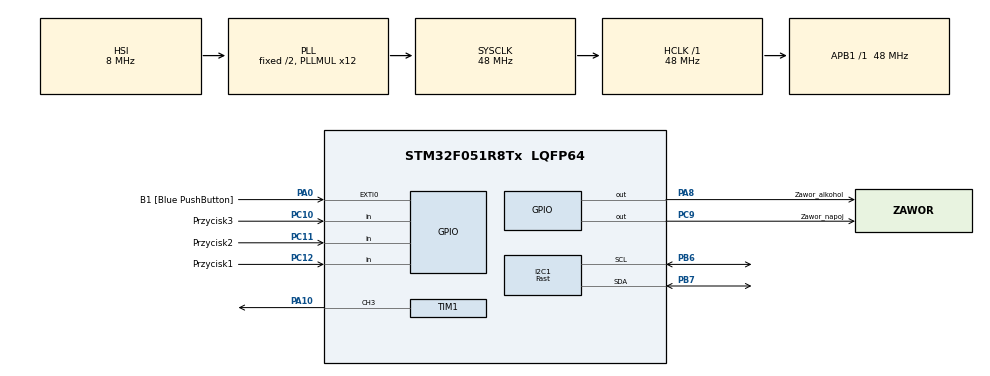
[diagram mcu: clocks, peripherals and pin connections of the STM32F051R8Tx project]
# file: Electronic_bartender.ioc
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I2C1.I2C_Speed_Mode=I2C_Fast
I2C1.Timing=0x0000020B
Mcu.Family=STM32F0
Mcu.Name=STM32F051R8Tx
Mcu.Package=LQFP64
NVIC.RCC_IRQn=true\:0\:0\:false\:false\:true\:true\:false\:true
NVIC.TIM1_BRK_UP_TRG_COM_IRQn=true\:0\:0\:false\:false\:true\:true\:true\:true
NVIC.TIM1_CC_IRQn=true\:0\:0\:false\:false\:true\:true\:true\:true
PA0.GPIO_Label=B1 [Blue PushButton]
PA0.GPIO_ModeDefaultEXTI=GPIO_MODE_EVT_RISING
PA0.Signal=GPXTI0
PA10.Signal=S_TIM1_CH3
PA13.GPIO_Label=SWDIO
PA13.Mode=Serial_Wire
PA13.Signal=SYS_SWDIO
PA14.GPIO_Label=SWCLK
PA14.Mode=Serial_Wire
PA14.Signal=SYS_SWCLK
PA8.GPIO_Label=Zawor_alkohol
PA8.Signal=GPIO_Output
PB6.Mode=I2C
PB6.Signal=I2C1_SCL
PB7.Mode=I2C
PB7.Signal=I2C1_SDA
PC10.GPIO_Label=Przycisk3
PC10.GPIO_PuPd=GPIO_PULLUP
PC10.Signal=GPIO_Input
PC11.GPIO_Label=Przycisk2
PC11.GPIO_PuPd=GPIO_PULLUP
PC11.Signal=GPIO_Input
PC12.GPIO_Label=Przycisk1
PC12.GPIO_PuPd=GPIO_PULLUP
PC12.Signal=GPIO_Input
PC14-OSC32_IN.Mode=LSE-External-Oscillator
PC14-OSC32_IN.Signal=RCC_OSC32_IN
PC15-OSC32_OUT.Mode=LSE-External-Oscillator
PC15-OSC32_OUT.Signal=RCC_OSC32_OUT
PC9.GPIO_Label=Zawor_napoj
PC9.Signal=GPIO_Output
PF0-OSC_IN.Mode=HSE-External-Oscillator
PF0-OSC_IN.Signal=RCC_OSC_IN
PF1-OSC_OUT.Mode=HSE-External-Oscillator
PF1-OSC_OUT.Signal=RCC_OSC_OUT
ProjectManager.HeapSize=0x200
ProjectManager.StackSize=0x400
ProjectManager.TargetToolchain=STM32CubeIDE
RCC.AHBFreq_Value=48000000
RCC.APB1Freq_Value=48000000
RCC.APB1TimFreq_Value=48000000
RCC.HCLKFreq_Value=48000000
RCC.PLLMUL=RCC_PLL_MUL12
RCC.SYSCLKFreq_VALUE=48000000
RCC.SYSCLKSource=RCC_SYSCLKSOURCE_PLLCLK
SH.S_TIM1_CH3.0=TIM1_CH3,PWM Generation3 CH3
TIM1.AutoReloadPreload=TIM_AUTORELOAD_PRELOAD_ENABLE
TIM1.Channel-PWM\ Generation3\ CH3=TIM_CHANNEL_3
TIM1.Period=19999
TIM1.Prescaler=47
VP_TIM1_VS_ClockSourceINT.Mode=Internal
board=STM32F0DISCOVERY

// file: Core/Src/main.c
/* USER CODE BEGIN Header */
/**
  ******************************************************************************
  * @file           : main.c
  * @brief          : Main program body
  ******************************************************************************
  * @attention
  *
  * Copyright (c) 2023 STMicroelectronics.
  * All rights reserved.
  *
  * This software is licensed under terms that can be found in the LICENSE file
  * in the root directory of this software component.
  * If no LICENSE file comes with this software, it is provided AS-IS.
  *
  ******************************************************************************
  */
/* USER CODE END Header */
#include "main.h"
#include "i2c.h"
#include "tim.h"
#include "gpio.h"

/* USER CODE BEGIN Includes */
#include "lcd_i2c.h"
#include <stdbool.h>
#include <stdio.h>
/* USER CODE END Includes */

/* USER CODE BEGIN PV */
struct lcd_disp disp;
/* USER CODE END PV */

void SystemClock_Config(void);

int main(void)
{

  /* MCU Configuration--------------------------------------------------------*/

  /* Reset of all peripherals, Initializes the Flash interface and the Systick. */
  HAL_Init();

  /* Configure the system clock */
  SystemClock_Config();

  /* Initialize all configured peripherals */
  MX_GPIO_Init();
  MX_I2C1_Init();
  MX_TIM1_Init();
  /* USER CODE BEGIN 2 */
  disp.addr = (0x27 << 1);
  disp.bl = true; //Podświelenie załączone
  lcd_init(&disp);
  lcd_prog(&disp);
  lcd_display(&disp);

  int ekran = 0;
  int liczba_szklanek = 1;
  int alkohol = 1;
  int napoj = 1;
  int zmiana = 1;
  int procedura = 1;
  int pozycja = 500;
  int zmiana_pozycji = 400;
  int czas_otwarcia = 1900;

  HAL_TIM_PWM_Start(&htim1, TIM_CHANNEL_3);

  /* USER CODE END 2 */

  /* Infinite loop */
  /* USER CODE BEGIN WHILE */
  while (1)
  {
	  HAL_GPIO_WritePin(Zawor_alkohol_GPIO_Port, Zawor_alkohol_Pin, GPIO_PIN_SET);
	  HAL_GPIO_WritePin(Zawor_napoj_GPIO_Port, Zawor_napoj_Pin, GPIO_PIN_SET);

	  if(HAL_GPIO_ReadPin(Przycisk1_GPIO_Port, Przycisk1_Pin) == GPIO_PIN_RESET){
	  		HAL_Delay(200);
	  		ekran = ekran+zmiana;
	  	  }

	  switch(ekran){
	  case 0:
		  sprintf((char *)disp.f_line, "Liczba szklanek:");
		  lcd_display(&disp);
		  if(HAL_GPIO_ReadPin(Przycisk2_GPIO_Port, Przycisk2_Pin) == GPIO_PIN_RESET){
		  	  		HAL_Delay(200);
		  	  		liczba_szklanek = liczba_szklanek+zmiana;
		  	  		if(liczba_szklanek >= 5){
		  	  		liczba_szklanek = 5;
		  	  		}
		  	  	  }
		  if(HAL_GPIO_ReadPin(Przycisk3_GPIO_Port, Przycisk3_Pin) == GPIO_PIN_RESET){
		  		  	  		HAL_Delay(200);
		  		  	  		liczba_szklanek = liczba_szklanek - zmiana;
		  		  	  		if(liczba_szklanek <= 1){
		  		  	  		liczba_szklanek = 1;
		  		  	  		}
		  		  	  	  }
		  sprintf((char *)disp.s_line, "%d", liczba_szklanek);
		  	  		  lcd_display(&disp);
		  break;

	  case 1:
	  		  sprintf((char *)disp.f_line, "Ilo%c%c alkoholu: ", '\x6', '\x1');
	  		  lcd_display(&disp);
	  		  if(HAL_GPIO_ReadPin(Przycisk2_GPIO_Port, Przycisk2_Pin) == GPIO_PIN_RESET){
	  		  	  		HAL_Delay(200);
	  		  	  	alkohol = alkohol+zmiana;
	  		  	  		if(alkohol >= 10){
	  		  	  		alkohol = 10;
	  		  	  		}
	  		  	  	  }
	  		  if(HAL_GPIO_ReadPin(Przycisk3_GPIO_Port, Przycisk3_Pin) == GPIO_PIN_RESET){
	  		  		  	  		HAL_Delay(200);
	  		  		  	  alkohol = alkohol - zmiana;
	  		  		  	  		if(alkohol <= 1){
	  		  		  	  	alkohol = 1;
	  		  		  	  		}
	  		  		  	  	  }
	  		  sprintf((char *)disp.s_line, "%d ml ", alkohol*10);
	  		  	  		  lcd_display(&disp);
	  		  break;

	  case 2:
	  	  		  sprintf((char *)disp.f_line, "Ilo%c%c napoju:   ", '\x6', '\x1');
	  	  		  lcd_display(&disp);
	  	  		  if(HAL_GPIO_ReadPin(Przycisk2_GPIO_Port, Przycisk2_Pin) == GPIO_PIN_RESET){
	  	  		  	  		HAL_Delay(200);
	  	  		  	  napoj = napoj + zmiana;
	  	  		  	  		if(napoj >= 10){
	  	  		  	  		napoj = 10;
	  	  		  	  		}
	  	  		  	  	  }
	  	  		  if(HAL_GPIO_ReadPin(Przycisk3_GPIO_Port, Przycisk3_Pin) == GPIO_PIN_RESET){
	  	  		  		  	  		HAL_Delay(200);
	  	  		  		  	  napoj = napoj - zmiana;
	  	  		  		  	  		if(napoj <= 1){
	  	  		  		  	  	napoj = 1;
	  	  		  		  	  		}
	  	  		  		  	  	  }
	  	  		  sprintf((char *)disp.s_line, "%d ml ", napoj*10);
	  	  		  	  		  lcd_display(&disp);
	  	  		  break;

	  case 4:
		  sprintf((char *)disp.f_line, "Nalewanie.      ");
		  sprintf((char *)disp.s_line, "                ");
		  lcd_display(&disp);

		  //nalewa wódę w ilości int=alkohol
		  //obrót
		  while(liczba_szklanek > 0){
			  HAL_Delay(1000);
			  sprintf((char *)disp.s_line, "%d          ", liczba_szklanek);
		  	  lcd_display(&disp);
		  	  //..................................................................Otwarcie zaworu, odmierzenie, zamknięcie zaworu
		  	  HAL_GPIO_WritePin(Zawor_alkohol_GPIO_Port, Zawor_alkohol_Pin, GPIO_PIN_RESET);
		  	  HAL_Delay(alkohol*czas_otwarcia);
		  	  HAL_GPIO_WritePin(Zawor_alkohol_GPIO_Port, Zawor_alkohol_Pin, GPIO_PIN_SET);
		  	  HAL_Delay(1000);
		  	  //.........................................................................
			  pozycja = pozycja + zmiana_pozycji;
		  	  __HAL_TIM_SET_COMPARE(&htim1, TIM_CHANNEL_3, pozycja);
		  	  //..................................................................Otwarcie zaworu, odmierzenie, zamknięcie zaworu
		  	  HAL_GPIO_WritePin(Zawor_napoj_GPIO_Port, Zawor_napoj_Pin, GPIO_PIN_RESET);
		  	  HAL_Delay(napoj*czas_otwarcia);
		  	  HAL_GPIO_WritePin(Zawor_napoj_GPIO_Port, Zawor_napoj_Pin, GPIO_PIN_SET);
		  	  HAL_Delay(1000);
		  	  liczba_szklanek--;
		      //.........................................................................
		  	  //HAL_Delay(1000);
		  	  }

			  //nalewa przepoję w ilości int=napoj
			  //powtórzyć int=liczba_szklanek razy

		  //Po zakończeniu procesu nalewania:

		  HAL_Delay(1000);
		  sprintf((char *)disp.f_line, "Dzi%ckuj%c.       ", '\x2', '\x2');
		  sprintf((char *)disp.s_line, "                ");
		  lcd_display(&disp);
		  HAL_Delay(1000);

		  ekran = 0;
		  liczba_szklanek = 1;
		  alkohol = 1;
		  napoj = 1;
		  pozycja = 500;
	  	  __HAL_TIM_SET_COMPARE(&htim1, TIM_CHANNEL_3, pozycja);
		  break;

	  }

	  //..........................................................................................................................
//	  if(procedura <= 5){
//			pozycja = pozycja + zmiana_pozycji;
//	  			  __HAL_TIM_SET_COMPARE(&htim1, TIM_CHANNEL_3, pozycja);
//	  			  HAL_Delay(1000);
//	  			sprintf((char *)disp.f_line, "Dzi%ckuj%c.       ", '\x2', '\x2');
//	  		  sprintf((char *)disp.s_line, "%d              ", pozycja);
//	  		  lcd_display(&disp);
//	  		  procedura++;
//
//	  }
//	  else{
//		  sprintf((char *)disp.s_line, "Koniec          ", procedura);
//		  	  		  lcd_display(&disp);
//		  	  		  pozycja = 50;
//	  }

//	  if(procedura <= 5){
//		  pozycja = pozycja + zmiana_pozycji;
//		  HAL_Delay(1000);
//		  __HAL_TIM_SET_COMPARE(&htim1, TIM_CHANNEL_3, pozycja);
//	  }else{
//		  procedura = 1;
//		  pozycja = 500;
//	  }
//	  __HAL_TIM_SET_COMPARE(&htim1, TIM_CHANNEL_3, 500);
//	  		  HAL_Delay(1000);__HAL_TIM_SET_COMPARE(&htim1, TIM_CHANNEL_3, 1000);
//		  HAL_Delay(1000);
//		  __HAL_TIM_SET_COMPARE(&htim1, TIM_CHANNEL_3, 1500);
//			  HAL_Delay(1000);
//			  __HAL_TIM_SET_COMPARE(&htim1, TIM_CHANNEL_3, 2000);
//			  		  HAL_Delay(1000);
//			  		  __HAL_TIM_SET_COMPARE(&htim1, TIM_CHANNEL_3, 2500);
//			  			  HAL_Delay(1000);

    /* USER CODE END WHILE */

  }
}

void SystemClock_Config(void)
{
  RCC_OscInitTypeDef RCC_OscInitStruct = {0};
  RCC_ClkInitTypeDef RCC_ClkInitStruct = {0};
  RCC_PeriphCLKInitTypeDef PeriphClkInit = {0};

  /** Initializes the RCC Oscillators according to the specified parameters
  * in the RCC_OscInitTypeDef structure.
  */
  RCC_OscInitStruct.OscillatorType = RCC_OSCILLATORTYPE_HSI;
  RCC_OscInitStruct.HSIState = RCC_HSI_ON;
  RCC_OscInitStruct.HSICalibrationValue = RCC_HSICALIBRATION_DEFAULT;
  RCC_OscInitStruct.PLL.PLLState = RCC_PLL_ON;
  RCC_OscInitStruct.PLL.PLLSource = RCC_PLLSOURCE_HSI;
  RCC_OscInitStruct.PLL.PLLMUL = RCC_PLL_MUL12;
  RCC_OscInitStruct.PLL.PREDIV = RCC_PREDIV_DIV1;
  if (HAL_RCC_OscConfig(&RCC_OscInitStruct) != HAL_OK)
  {
    Error_Handler();
  }

  /** Initializes the CPU, AHB and APB buses clocks
  */
  RCC_ClkInitStruct.ClockType = RCC_CLOCKTYPE_HCLK|RCC_CLOCKTYPE_SYSCLK
                              |RCC_CLOCKTYPE_PCLK1;
  RCC_ClkInitStruct.SYSCLKSource = RCC_SYSCLKSOURCE_PLLCLK;
  RCC_ClkInitStruct.AHBCLKDivider = RCC_SYSCLK_DIV1;
  RCC_ClkInitStruct.APB1CLKDivider = RCC_HCLK_DIV1;

  if (HAL_RCC_ClockConfig(&RCC_ClkInitStruct, FLASH_LATENCY_1) != HAL_OK)
  {
    Error_Handler();
  }
  PeriphClkInit.PeriphClockSelection = RCC_PERIPHCLK_I2C1;
  PeriphClkInit.I2c1ClockSelection = RCC_I2C1CLKSOURCE_HSI;
  if (HAL_RCCEx_PeriphCLKConfig(&PeriphClkInit) != HAL_OK)
  {
    Error_Handler();
  }
}

void Error_Handler(void)
{
  __disable_irq();
  while (1)
  {
  }
}
